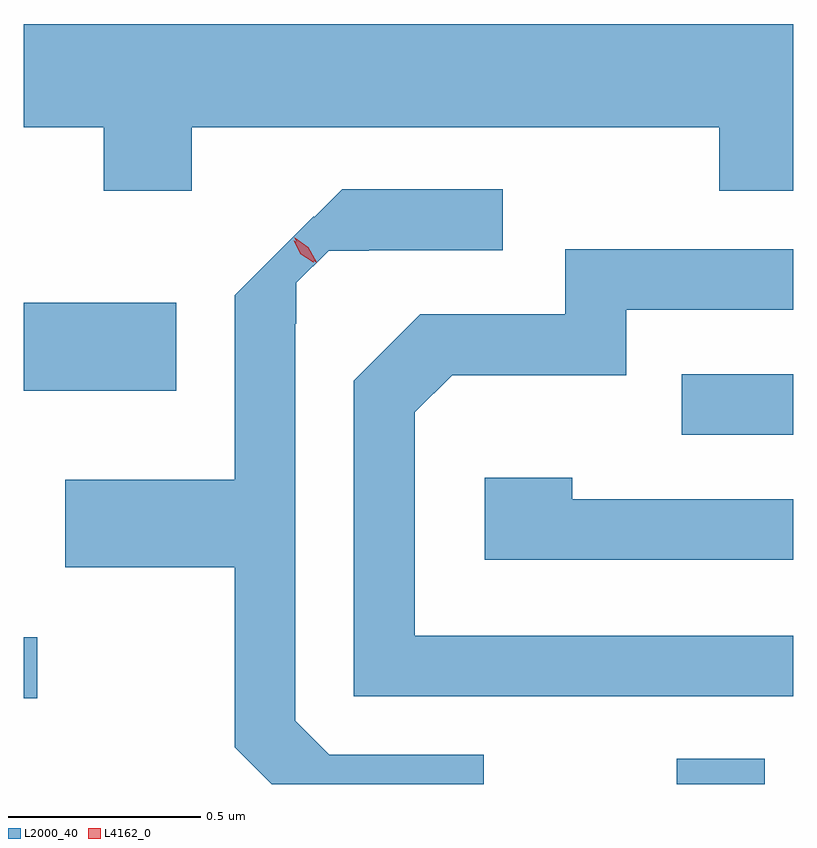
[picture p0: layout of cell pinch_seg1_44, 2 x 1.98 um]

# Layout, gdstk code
import gdstk
lib = gdstk.Library(unit=1e-6, precision=1e-09)
def R(c, l, rs):  # rectangles x0, y0, x1, y1
    for r in rs: c.add(gdstk.rectangle(r[:2], r[2:], *l))
def P(c, l, *ps):  # polygons
    for p in ps: c.add(gdstk.Polygon(p, *l))
L2000_40 = (2000, 40)
L4162_0 = (4162, 0)

pinch_seg1_44 = lib.new_cell('pinch_seg1_44')
R(pinch_seg1_44, L2000_40, [(1066.181,840.148,1066.409,840.214), (1064.483,840.371,1064.518,840.529), (1066.193,841.056,1066.483,841.214), (1064.483,841.171,1064.879,841.399)])
P(pinch_seg1_44, L2000_40, [(1064.919,841.856),(1066.291,841.856),(1066.291,841.691),(1066.483,841.691),(1066.483,842.124),(1064.483,842.124),(1064.483,841.856),(1064.691,841.856),(1064.691,841.691),(1064.919,841.691)],
  [(1065.678,840.224),(1065.277,840.224),(1065.189,840.312),(1065.189,841.345),(1065.191,841.345),(1065.191,841.451),(1065.275,841.534),(1065.38,841.534),(1065.38,841.536),(1065.728,841.536),(1065.728,841.694),(1065.311,841.694),(1065.238,841.621),(1065.236,841.624),(1065.031,841.419),(1065.031,840.939),(1064.591,840.939),(1064.591,840.711),(1065.031,840.711),(1065.031,840.244),(1065.127,840.148),(1065.678,840.148)],
  [(1066.483,840.534),(1065.499,840.534),(1065.499,841.114),(1065.597,841.211),(1066.049,841.211),(1066.049,841.381),(1066.483,841.381),(1066.483,841.539),(1065.891,841.539),(1065.891,841.369),(1065.514,841.369),(1065.341,841.197),(1065.341,840.376),(1066.483,840.376)],
  [(1066.483,840.889),(1065.909,840.889),(1065.909,840.944),(1065.681,840.944),(1065.681,840.731),(1066.483,840.731)])
P(pinch_seg1_44, L4162_0, [(1065.244,841.503),(1065.207,841.53),(1065.186,841.569),(1065.186,841.57),(1065.186,841.57),(1065.222,841.543),(1065.244,841.504),(1065.244,841.503)],
  [(1065.235,841.505),(1065.203,841.526),(1065.185,841.56),(1065.185,841.561),(1065.186,841.561),(1065.218,841.54),(1065.236,841.506),(1065.236,841.505)])

lib.write_gds('pinch_seg1_44.gds')
